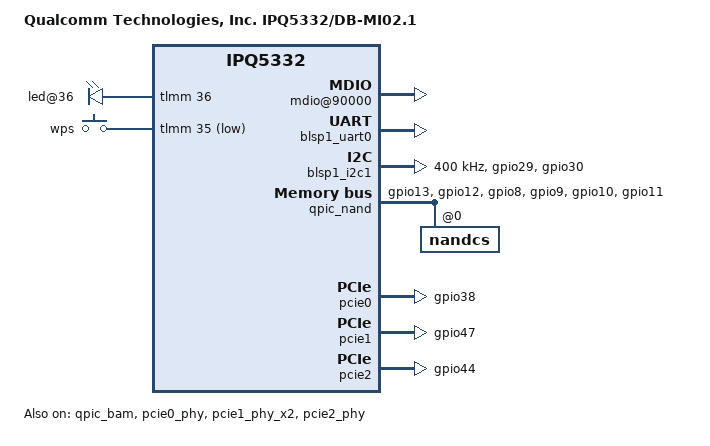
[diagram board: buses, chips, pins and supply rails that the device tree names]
// SPDX-License-Identifier: (GPL-2.0+ OR BSD-3-Clause)
/*
 * IPQ5332 DB-MI02.1 board device tree source
 *
 * Copyright (c) 2020-2021 The Linux Foundation. All rights reserved.
 * Copyright (c) 2022-2023 Qualcomm Innovation Center, Inc. All rights reserved.
 */

/dts-v1/;

#include "ipq5332.dtsi"
#include <dt-bindings/gpio/gpio.h>
#include <dt-bindings/input/input.h>
#include "ipq5332-default-memory.dtsi"

/ {
	model = "Qualcomm Technologies, Inc. IPQ5332/DB-MI02.1";
	compatible = "qcom,ipq5332-db-mi02.1", "qcom,ipq5332";

	aliases {
		serial0 = &blsp1_uart0;
	};

	chosen {
		stdout-path = "serial0";
	};

	soc@0 {
		leds {
			compatible = "gpio-leds";
			pinctrl-0 = <&leds_pins>;
			pinctrl-names = "default";
			led@36 {
				gpios = <&tlmm 36 GPIO_ACTIVE_HIGH>;
				linux,default-trigger = "led_2g";
				default-state = "off";
			};
		};

		gpio_keys {
			compatible = "gpio-keys";
			pinctrl-0 = <&button_pins>;
			pinctrl-names = "default";
			status = "okay";

			button@1 {
				label = "wps";
				linux,code = <KEY_WPS_BUTTON>;
				gpios = <&tlmm 35 GPIO_ACTIVE_LOW>;
				linux,input-type = <1>;
				debounce-interval = <60>;
			};
		};

		mdio@90000 {
			status = "ok";
			pinctrl-0 = <&mdio1_pins>;
			pinctrl-names = "default";
		};

		ess-instance {
			ess-switch@3a000000 {
				pinctrl-0 = <&sfp_pins>;
				pinctrl-names = "default";
				switch_cpu_bmp = <0x1>;  /* cpu port bitmap */
				switch_lan_bmp = <0x2>; /* lan port bitmap */
				switch_wan_bmp = <0x4>; /* wan port bitmap */
				switch_mac_mode = <0xe>; /* mac mode for uniphy instance0*/
				switch_mac_mode1 = <0xe>; /* mac mode for uniphy instance1*/
				switch_mac_mode2 = <0xff>; /* mac mode for uniphy instance2*/
				qcom,port_phyinfo {
					port@0 {
						port_id = <1>;
						phy_address = <30>;
						media-type = "sfp"; /* fiber mode */
						sfp_rx_los_pin = <&tlmm 48 0>;
						sfp_tx_dis_pin = <&tlmm 15 0>;

					};
					port@1 {
						port_id = <2>;
						phy_address = <31>;
						media-type = "sfp"; /* fiber mode */
						sfp_rx_los_pin = <&tlmm 45 0>;
						sfp_tx_dis_pin = <&tlmm 24 0>;
					};
				};
			};
		};
	};
};

&blsp1_uart0 {
	pinctrl-0 = <&serial_0_pins>;
	pinctrl-names = "default";
	status = "okay";
};

&sdhc {
	bus-width = <4>;
	max-frequency = <192000000>;
	mmc-ddr-1_8v;
	mmc-hs200-1_8v;
	non-removable;
	pinctrl-0 = <&sdc_default_state>;
	pinctrl-names = "default";
	status = "disabled";
};

&blsp1_i2c1 {
	clock-frequency  = <400000>;
	pinctrl-0 = <&i2c_1_pins>;
	pinctrl-names = "default";
	status = "okay";
};

&sleep_clk {
	clock-frequency = <32000>;
};

&xo_board {
	clock-frequency = <24000000>;
};

&qpic_bam {
	status = "okay";
};

&qpic_nand {
	pinctrl-0 = <&qspi_default_state>;
	pinctrl-names = "default";
	status = "okay";

	nandcs@0 {
		reg = <0>;
		#address-cells = <1>;
		#size-cells = <1>;

		nand-ecc-strength = <8>;
		nand-ecc-step-size = <512>;
		nand-bus-width = <8>;
	};
};

&pcie0_phy {
	status = "okay";
};

&pcie0 {
	pinctrl-0 = <&pcie0_default_state>;
	pinctrl-names = "default";
	perst-gpios = <&tlmm 38 GPIO_ACTIVE_LOW>;
	status = "okay";
};

&pcie1_phy_x2 {
	status = "okay";
};

&pcie1 {
	pinctrl-0 = <&pcie1_default_state>;
	pinctrl-names = "default";
	perst-gpios = <&tlmm 47 GPIO_ACTIVE_LOW>;
	status = "okay";
};

&pcie2_phy {
	status = "ok";
};

&pcie2 {
	pinctrl-0 = <&pcie2_default_state>;
	pinctrl-names = "default";
	perst-gpios = <&tlmm 44 GPIO_ACTIVE_LOW>;
	status = "okay";
};

/* PINCTRL */

&tlmm {
	sdc_default_state: sdc-default-state {
		clk-pins {
			pins = "gpio13";
			function = "sdc_clk";
			drive-strength = <8>;
			bias-disable;
		};

		cmd-pins {
			pins = "gpio12";
			function = "sdc_cmd";
			drive-strength = <8>;
			bias-pull-up;
		};

		data-pins {
			pins = "gpio8", "gpio9", "gpio10", "gpio11";
			function = "sdc_data";
			drive-strength = <8>;
			bias-pull-up;
		};
	};

	qspi_default_state: qspi-default-state {
		qspi_clock {
			pins = "gpio13";
			function = "qspi_clk";
			drive-strength = <8>;
			bias-pull-down;
		};

		qspi_cs {
			pins = "gpio12";
			function = "qspi_cs";
			drive-strength = <8>;
			bias-pull-up;
		};

		qspi_data {
			pins = "gpio8", "gpio9", "gpio10", "gpio11";
			function = "qspi_data";
			drive-strength = <8>;
			bias-pull-down;
		};
	};

	i2c_1_pins: i2c-1-state {
		pins = "gpio29", "gpio30";
		function = "blsp1_i2c0";
		drive-strength = <8>;
		bias-pull-up;
	};

	leds_pins: leds-state {
		pins = "gpio36";
		function = "gpio";
		drive-strength = <8>;
		bias-pull-down;
	};

	button_pins: button-state {
		pins = "gpio35";
		function = "gpio";
		drive-strength = <8>;
		bias-pull-up;
	};

	pcie0_default_state: pcie0-default-state {
		pins = "gpio38";
		function = "gpio";
		drive-strength = <8>;
		bias-pull-up;
		output-low;
	};

	pcie1_default_state: pcie1-default-state {
		pins = "gpio47";
		function = "gpio";
		drive-strength = <8>;
		bias-pull-up;
		output-low;
	};

	pcie2_default_state: pcie2-default-state {
		pins = "gpio44";
		function = "gpio";
		drive-strength = <8>;
		bias-pull-up;
		output-low;
	};

	sfp_pins: sfp-state {
		sfp_rx {
			pins = "gpio45";
			function = "rx1";
			bias-disable;
		};
		sfp_tx {
			pins = "gpio24";
			function = "gpio";
			drive-strength = <8>;
			bias-pull-down;
			output-low;
		};
	};
};
